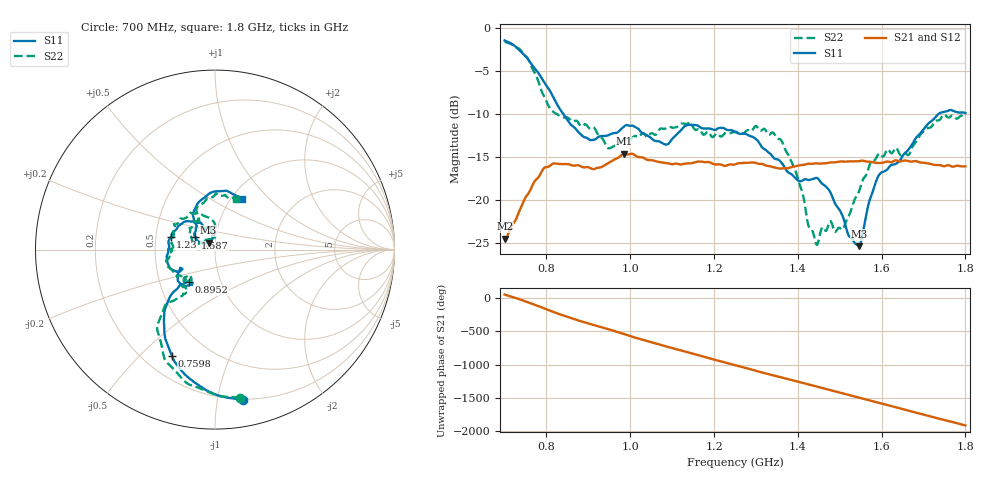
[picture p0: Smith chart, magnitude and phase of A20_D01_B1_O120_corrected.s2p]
! Created with skrf 1.9.0 (http://scikit-rf.org).
# Hz S RI R 50.0
!freq ReS11 ImS11 ReS21 ImS21 ReS12 ImS12 ReS22 ImS22
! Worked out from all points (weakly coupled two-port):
!   1601 points, 700 MHz to 1.8 GHz, reference 50 ohm
!   highest |S21| = -14.63 dB at 986 MHz (marker M1); lowest = -24.6 dB at 700.7 MHz (marker M2)
!   lowest |S11| = -25.4 dB at 1.546 GHz (marker M3), VSWR 1.11, Z = 46.4 + j3.68 ohm
!   |S11| at or under -10 dB: 839.9 MHz to 1.735 GHz (895.5 MHz wide, 69.5 % of centre)
!   |S22| runs from -25.3 to -1.5 dB; largest |S21 - S12| = 0.0037
!   S11 on the Smith chart (normalised r, x): 700 MHz: 0.20, -1.19; 759.8 MHz: 0.31, -0.63; 895.2 MHz: 0.71, -0.27; 1.23 GHz: 0.60, +0.09; 1.587 GHz: 0.80, +0.11; 1.8 GHz: 1.12, +0.70
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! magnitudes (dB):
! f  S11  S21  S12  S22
! 700 MHz  -1.4  -24.6  -24.3  -1.5
! 700.7 MHz  -1.4  -24.6  -24.3  -1.6
! 759.8 MHz  -3.9  -19.0  -18.9  -3.9
! 810.7 MHz  -7.5  -15.9  -15.9  -9.5
! 883.6 MHz  -12.4  -16.1  -16.0  -11.4
! 895.2 MHz  -12.8  -16.2  -16.3  -11.3
! 948.2 MHz  -12.5  -15.7  -15.7  -14.0
! 986 MHz  -11.4  -14.6  -14.7  -13.0
! 1.067 GHz  -13.2  -15.6  -15.5  -12.0
! 1.23 GHz  -11.8  -16.0  -15.9  -12.2
! 1.25 GHz  -12.1  -15.9  -15.8  -12.1
! 1.36 GHz  -15.6  -16.4  -16.4  -13.0
! 1.434 GHz  -17.6  -15.8  -15.8  -23.5
! 1.445 GHz  -17.5  -15.8  -15.8  -25.3
! 1.477 GHz  -19.1  -15.7  -15.7  -22.5
! 1.507 GHz  -21.9  -15.5  -15.5  -23.5
! 1.546 GHz  -25.4  -15.5  -15.5  -19.0
! 1.587 GHz  -17.8  -15.7  -15.7  -15.2
! 1.617 GHz  -16.2  -15.6  -15.5  -14.2
! 1.664 GHz  -14.2  -15.5  -15.5  -14.8
! 1.737 GHz  -9.9  -15.9  -16.0  -10.7
! 1.8 GHz  -9.9  -16.1  -16.1  -10.4
